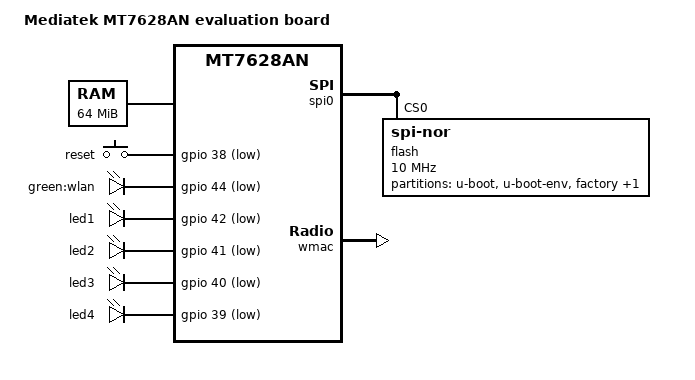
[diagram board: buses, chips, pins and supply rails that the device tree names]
#include "mt7628an.dtsi"
#include <dt-bindings/gpio/gpio.h>
#include <dt-bindings/input/linux-event-codes.h>

/ {
	compatible = "mediatek,mt7628an-eval-board", "mediatek,mt7628an-soc";
	model = "Mediatek MT7628AN evaluation board";

	memory@0 {
		device_type = "memory";
		reg = <0x0 0x4000000>;   // 64MB
	};	

	keys {
		compatible = "gpio-keys";

		reset {
			label = "reset";
			gpios = <&gpio 38 GPIO_ACTIVE_LOW>;
			linux,code = <KEY_RESTART>;
		};
	};

	leds {
		compatible = "gpio-leds";

		wlan {
			label = "green:wlan";
			gpios = <&gpio 44 GPIO_ACTIVE_LOW>;
		};
		led1 {
			label = "led1";
			gpios = <&gpio 42 GPIO_ACTIVE_LOW>;
		};
		led2 {
			label = "led2";
			gpios = <&gpio 41 GPIO_ACTIVE_LOW>;
		};
		led3 {
			label = "led3";
			gpios = <&gpio 40 GPIO_ACTIVE_LOW>;
		};
		led4 {
			label = "led4";
			gpios = <&gpio 39 GPIO_ACTIVE_LOW>;
		};
	};
};

&state_default {
	gpio {
		groups = "i2c";
		function = "gpio";
	};
};

&spi0 {
	status = "okay";

	flash@0 {
		compatible = "jedec,spi-nor";
		reg = <0>;
		spi-max-frequency = <10000000>;

		partitions {
			compatible = "fixed-partitions";
			#address-cells = <1>;
			#size-cells = <1>;

			partition@0 {
				label = "u-boot";
				reg = <0x0 0x30000>;
				read-only;
			};

			partition@30000 {
				label = "u-boot-env";
				reg = <0x30000 0x10000>;
				read-only;
			};

			factory: partition@40000 {
				label = "factory";
				reg = <0x40000 0x10000>;
				read-only;
			};

			partition@50000 {
				compatible = "denx,uimage";
				label = "firmware";
				reg = <0x50000 0x7b0000>;
			};
		};
	};
};

&wmac {
	status = "okay";

	mediatek,mtd-eeprom = <&factory 0x0>;
};
